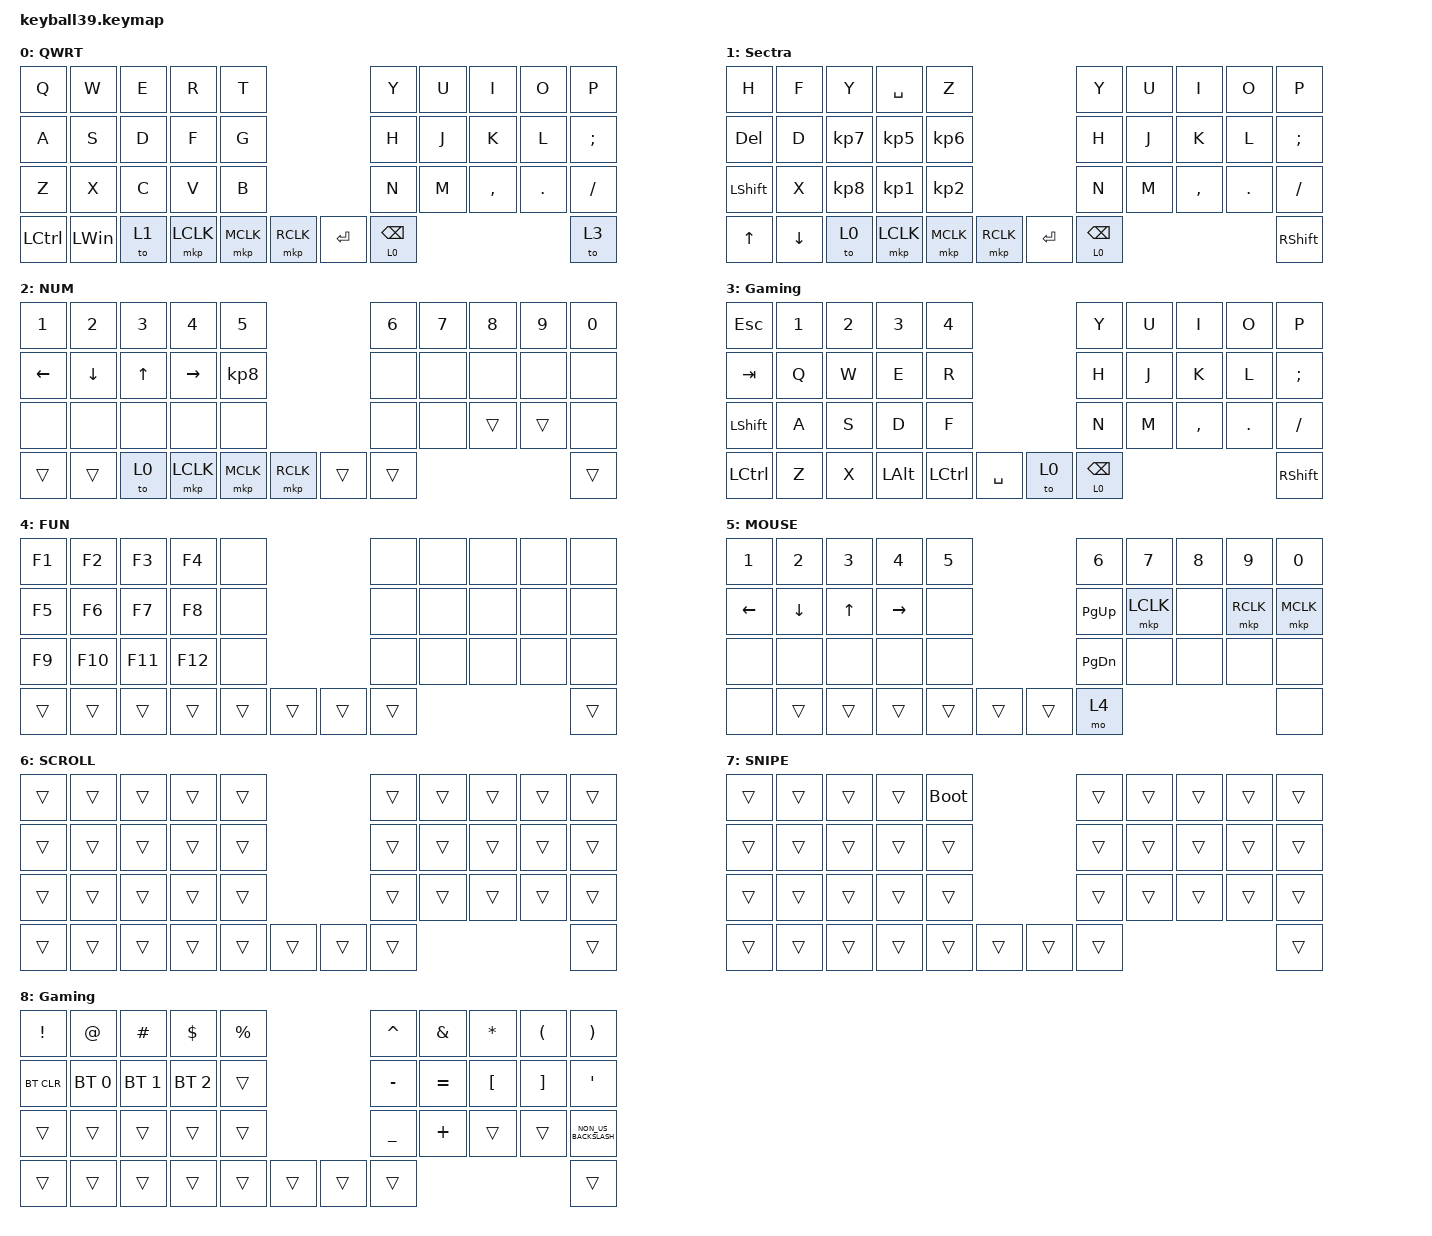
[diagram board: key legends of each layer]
#define DEFAULT 0
#define NUM     1
#define SYM     2
#define FUN     3
#define MOUSE   4
#define SCROLL  5
#define SNIPE   6

#include <behaviors/mouse_keys.dtsi>
#include <dt-bindings/zmk/mouse.h>
#include <behaviors.dtsi>
#include <dt-bindings/zmk/bt.h>
#include <dt-bindings/zmk/keys.h>
#include <dt-bindings/zmk/pointing.h>

&lt {
    tapping-term-ms = <240>;
    flavor = "balanced";
    quick-tap-ms = <150>;
};

&mt {
    tapping-term-ms = <200>;
    flavor = "tap-preferred";
    quick-tap-ms = <150>;
};

&caps_word { continue-list = <UNDERSCORE MINUS>; };

/ {
    // custom shift using mod-morph 

    behaviors {
        cmqus: comma_question {
            compatible = "zmk,behavior-mod-morph";
            label = "COMMA_QUESTION";
            #binding-cells = <0>;
            bindings = <&kp COMMA>, <&kp QUESTION>;

            mods = <(MOD_LSFT|MOD_RSFT)>;
        };

        dtsmi: dot_semi {
            compatible = "zmk,behavior-mod-morph";
            label = "DOT_SEMI";
            #binding-cells = <0>;
            bindings = <&kp DOT>, <&kp SEMI>;

            mods = <(MOD_LSFT|MOD_RSFT)>;
        };
    };

    macros {
        Hiragana: Hiragana {
            compatible = "zmk,behavior-macro";
            #binding-cells = <0>;
            bindings = <&kp LC(SPACE)>;
            label = "HIRAGANA";
        };
    };

    keymap {
        compatible = "zmk,keymap";

        Typing {
            label = "QWRT";
            bindings = <
&kp Q      &kp W         &kp E  &kp R      &kp T                            &kp Y            &kp U  &kp I      &kp O    &kp P
&kp A      &kp S         &kp D  &kp F      &kp G                            &kp H            &kp J  &kp K      &kp L    &kp SEMI
&kp Z      &kp X         &kp C  &kp V      &kp B                            &kp N            &kp M  &kp COMMA  &kp DOT  &kp SLASH
&kp LCTRL  &kp LEFT_WIN  &to 1  &mkp LCLK  &mkp MCLK  &mkp RCLK  &kp ENTER  &lt 0 BACKSPACE                             &to 3
            >;
        };

        SECTRA {
            label = "Sectra";
            bindings = <
&kp H           &kp F           &kp Y            &kp SPACE        &kp Z                                  &kp Y            &kp U  &kp I      &kp O    &kp P
&kp DELETE      &kp D           &kp KP_NUMBER_7  &kp KP_NUMBER_5  &kp KP_NUMBER_6                        &kp H            &kp J  &kp K      &kp L    &kp SEMI
&kp LEFT_SHIFT  &kp X           &kp KP_NUMBER_8  &kp KP_NUMBER_1  &kp KP_NUMBER_2                        &kp N            &kp M  &kp COMMA  &kp DOT  &kp SLASH
&kp UP_ARROW    &kp DOWN_ARROW  &to 0            &mkp LCLK        &mkp MCLK        &mkp RCLK  &kp ENTER  &lt 0 BACKSPACE                             &kp RSHFT
            >;
        };

        NUM {
            label = "NUM";
            bindings = <
&kp NUMBER_1  &kp NUMBER_2  &kp NUMBER_3  &kp NUMBER_4  &kp NUMBER_5                        &kp NUMBER_6  &kp NUMBER_7  &kp NUMBER_8  &kp NUMBER_9  &kp NUMBER_0
&kp LEFT      &kp DOWN      &kp UP_ARROW  &kp RIGHT     &kp KP_NUMBER_8                     &none         &none         &none         &none         &none
&none         &none         &none         &none         &none                               &none         &none         &trans        &trans        &none
&trans        &trans        &to 0         &mkp LCLK     &mkp MCLK        &mkp RCLK  &trans  &trans                                                  &trans
            >;
        };

        Gaming {
            label = "Gaming";
            bindings = <
&kp ESC         &kp NUMBER_1  &kp NUMBER_2  &kp NUMBER_3  &kp NUMBER_4                    &kp Y            &kp U  &kp I      &kp O    &kp P
&kp TAB         &kp Q         &kp W         &kp E         &kp R                           &kp H            &kp J  &kp K      &kp L    &kp SEMI
&kp LEFT_SHIFT  &kp A         &kp S         &kp D         &kp F                           &kp N            &kp M  &kp COMMA  &kp DOT  &kp SLASH
&kp LCTRL       &kp Z         &kp X         &kp LEFT_ALT  &kp LCTRL     &kp SPACE  &to 0  &lt 0 BACKSPACE                             &kp RSHFT
            >;
        };

        function_layer {
            label = "FUN";
            bindings = <
&kp F1  &kp F2   &kp F3   &kp F4   &none                   &none   &none  &none  &none  &none
&kp F5  &kp F6   &kp F7   &kp F8   &none                   &none   &none  &none  &none  &none
&kp F9  &kp F10  &kp F11  &kp F12  &none                   &none   &none  &none  &none  &none
&trans  &trans   &trans   &trans   &trans  &trans  &trans  &trans                       &trans
            >;
        };

        mouse_layer {
            label = "MOUSE";
            bindings = <
&kp N1          &kp N2          &kp N3        &kp N4     &kp N5                  &kp N6         &kp N7     &kp N8  &kp N9     &kp N0
&kp LEFT_ARROW  &kp DOWN_ARROW  &kp UP_ARROW  &kp RIGHT  &none                   &kp PAGE_UP    &mkp LCLK  &none   &mkp RCLK  &mkp MCLK
&none           &none           &none         &none      &none                   &kp PAGE_DOWN  &none      &none   &none      &none
&none           &trans          &trans        &trans     &trans  &trans  &trans  &mo 4                                        &none
            >;
        };

        scroll_layer {
            label = "SCROLL";
            bindings = <
&trans  &trans  &trans  &trans  &trans                  &trans  &trans  &trans  &trans  &trans
&trans  &trans  &trans  &trans  &trans                  &trans  &trans  &trans  &trans  &trans
&trans  &trans  &trans  &trans  &trans                  &trans  &trans  &trans  &trans  &trans
&trans  &trans  &trans  &trans  &trans  &trans  &trans  &trans                          &trans
            >;
        };

        snipe_layer {
            label = "SNIPE";
            bindings = <
&trans  &trans  &trans  &trans  &bootloader                  &trans  &trans  &trans  &trans  &trans
&trans  &trans  &trans  &trans  &trans                       &trans  &trans  &trans  &trans  &trans
&trans  &trans  &trans  &trans  &trans                       &trans  &trans  &trans  &trans  &trans
&trans  &trans  &trans  &trans  &trans       &trans  &trans  &trans                          &trans
            >;
        };

        layer_7 {
            label = "Gaming";
            bindings = <
&kp EXCLAMATION  &kp AT_SIGN   &kp HASH      &kp DOLLAR    &kp PERCENT                  &kp CARET       &kp AMPERSAND  &kp ASTERISK      &kp LEFT_PARENTHESIS  &kp RIGHT_PARENTHESIS
&bt BT_CLR       &bt BT_SEL 0  &bt BT_SEL 1  &bt BT_SEL 2  &trans                       &kp MINUS       &kp EQUAL      &kp LEFT_BRACKET  &kp RIGHT_BRACKET     &kp SQT
&trans           &trans        &trans        &trans        &trans                       &kp UNDERSCORE  &kp PLUS       &trans            &trans                &kp NON_US_BACKSLASH
&trans           &trans        &trans        &trans        &trans       &trans  &trans  &trans                                                                 &trans
            >;
        };
    };
};
